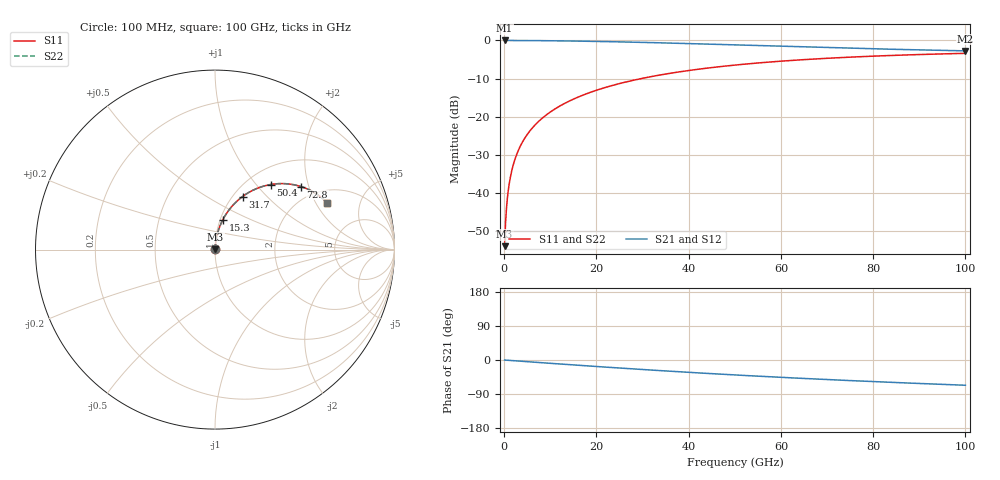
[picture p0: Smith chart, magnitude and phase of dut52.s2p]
! Touchstone file exported from HFSS 2026.1.0
!  File:  C:/ffzhzh/LocalFiles/Ansys_Project_Files/temp_train_RDL_52_1783498327_44152.aedt
!  Generated:  04:13:10 PM Jul  8, 2026
!  Design:  RDL
!  Project:  temp_train_RDL_52_1783498327_44152
! Variables:
!  h_bsmrdl = 2um
!  h_ox = 20um
!  h_rdl = 5um
!  h_sub = 80um
!  h_tmrdl = 3.26um
!  h_tsv = 80um
!  h_via = 3um
!  l_bsmrdl = 300um
!  l_sub = 566.19um
!  l_tmrdl = 166.19um
!  m_sub = 200um
!  pitch = 52.79um
!  r_tsv = 6um
!  s_tmrdl = 10um
!  w_bsmrdl = 18um
!  w_sub = 500um
!  w_tmrdl = 12.79um
!  x_tsv_center1 = 172.585um
!  x_tsv_center2 = 490.585um
!  x_tsv_center3 = 669.565um
!  x_tsv_center4 = 987.565um
!  x_tsv_center5 = 1166.545um
!  x_tsv_center6 = 1484.545um
# GHz S MA R 50.000000
! Terminal data exported
! Port[1] = TM_RDL1_1_T1
! Port[2] = TM_RDL1_1_T2
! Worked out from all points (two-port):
!   1000 points, 100 MHz to 100 GHz, reference 50 ohm
!   highest |S21| = -0.01 dB at 100 MHz (marker M1); lowest = -2.7 dB at 100 GHz (marker M2)
!   |S21| within 3 dB of the highest: start of sweep to end of sweep
!   lowest |S11| = -54.0 dB at 100 MHz (marker M3), VSWR 1.00, Z = 50.2 + j0.122 ohm
!   |S11| at or under -10 dB: start of sweep to 29.79 GHz
!   |S22| runs from -54.0 to -3.4 dB; largest |S21 - S12| = 6.1e-15
!   S11 on the Smith chart (normalised r, x): 100 MHz: 1.00, +0.00; 15.3 GHz: 1.03, +0.35; 31.7 GHz: 1.11, +0.74; 50.4 GHz: 1.27, +1.19; 72.8 GHz: 1.64, +1.78; 100 GHz: 2.58, +2.49
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0.1  0.001994 37.4  0.9984 -0.1  0.9984 -0.1  0.001994 37.4
! Gamma 0 0 0 0
! Port Impedance 50 0 50 0
0.3  0.00397 65.5  0.9984 -0.3  0.9984 -0.3  0.00397 65.5
0.7  0.008509 77.6  0.9982 -0.6  0.9982 -0.6  0.008509 77.6
0.9  0.01081 79.7  0.9982 -0.8  0.9982 -0.8  0.01081 79.7
1.4  0.01659 82.4  0.998 -1.2  0.998 -1.2  0.01659 82.4
1.9  0.02238 83.4  0.9978 -1.7  0.9978 -1.7  0.02238 83.4
2.4  0.02819 83.9  0.9976 -2.1  0.9976 -2.1  0.02819 83.9
3.7  0.04326 83.9  0.9969 -3.3  0.9969 -3.3  0.04326 83.9
5.7  0.06628 82.8  0.9953 -5.0  0.9953 -5.0  0.06628 82.8
8.2  0.09467 81.0  0.9925 -7.2  0.9925 -7.2  0.09467 81.0
11.4  0.1303 78.4  0.9878 -10.0  0.9878 -10.0  0.1303 78.4
15.3  0.1725 75.3  0.9806 -13.3  0.9806 -13.3  0.1725 75.3
16.8  0.1884 74.1  0.9774 -14.5  0.9774 -14.5  0.1884 74.1
23.5  0.2567 68.8  0.961 -20.0  0.961 -20.0  0.2567 68.8
31.7  0.3334 62.5  0.9366 -26.4  0.9366 -26.4  0.3334 62.5
33.4  0.3483 61.3  0.9311 -27.7  0.9311 -27.7  0.3483 61.3
50.1  0.4749 49.7  0.873 -39.5  0.873 -39.5  0.4749 49.7
50.4  0.4769 49.5  0.872 -39.7  0.872 -39.7  0.4769 49.5
66.7  0.5675 39.6  0.8162 -49.7  0.8162 -49.7  0.5675 39.6
72.8  0.5943 36.2  0.7971 -53.1  0.7971 -53.1  0.5943 36.2
83.4  0.6329 30.7  0.7671 -58.7  0.7671 -58.7  0.6329 30.7
100  0.6763 22.8  0.7295 -66.7  0.7295 -66.7  0.6763 22.8
